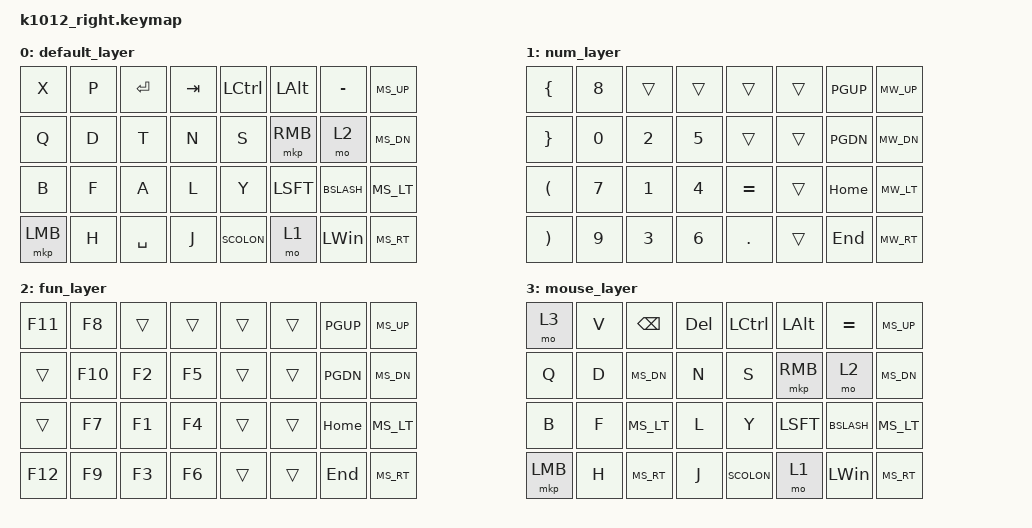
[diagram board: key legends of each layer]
/dts-v1/;
#include <behaviors.dtsi>
#include <dt-bindings/zmk/keys.h>
#include <dt-bindings/zmk/mouse.h>

/ {
    keymap {
        compatible = "zmk,keymap";
        label = "K1012 Right Keymap";

        default_layer {  // Layer 0 - BASE
            bindings = <
                &kp X &kp P &kp ENTER &kp TAB &kp LCTRL &kp LALT &kp MINUS &kp MS_UP
                &kp Q &kp D &kp T &kp N &kp S &mkp RMB &mo 2 &kp MS_DN
                &kp B &kp F &kp A &kp L &kp Y &kp LSFT &kp BSLASH &kp MS_LT
                &mkp LMB &kp H &kp SPC &kp J &kp SCOLON &mo 1 &kp LWIN &kp MS_RT
            >;
        };

        num_layer {  // Layer 1 - NUM
            bindings = <
                &kp LBRC &kp N8 &trans &trans &trans &trans &kp PGUP &kp MW_UP
                &kp RBRC &kp N0 &kp N2 &kp N5 &trans &trans &kp PGDN &kp MW_DN
                &kp LPRN &kp N7 &kp N1 &kp N4 &kp EQUAL &trans &kp HOME &kp MW_LT
                &kp RPRN &kp N9 &kp N3 &kp N6 &kp DOT &trans &kp END &kp MW_RT
            >;
        };

        fun_layer {  // Layer 2 - FUN
            bindings = <
                &kp F11 &kp F8 &trans &trans &trans &trans &kp PGUP &kp MS_UP
                &trans &kp F10 &kp F2 &kp F5 &trans &trans &kp PGDN &kp MS_DN
                &trans &kp F7 &kp F1 &kp F4 &trans &trans &kp HOME &kp MS_LT
                &kp F12 &kp F9 &kp F3 &kp F6 &trans &trans &kp END &kp MS_RT
            >;
        };

        mouse_layer {  // Layer 3 - MS
            bindings = <
                &mo 3 &kp V &kp BSPC &kp DEL &kp LCTRL &kp LALT &kp EQUAL &kp MS_UP
                &kp Q &kp D &kp MS_DN &kp N &kp S &mkp RMB &mo 2 &kp MS_DN
                &kp B &kp F &kp MS_LT &kp L &kp Y &kp LSFT &kp BSLASH &kp MS_LT
                &mkp LMB &kp H &kp MS_RT &kp J &kp SCOLON &mo 1 &kp LWIN &kp MS_RT
            >;
        };
    };
};
